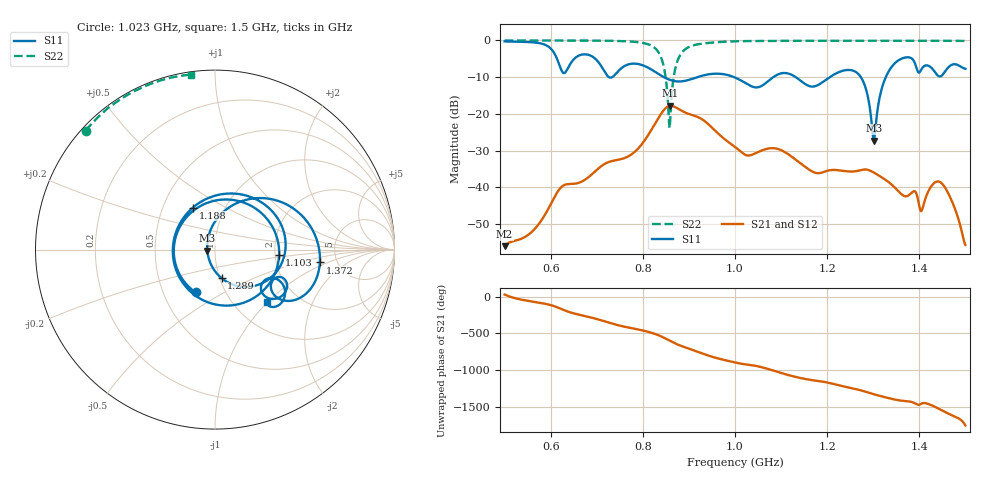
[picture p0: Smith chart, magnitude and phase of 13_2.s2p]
! TOUCHSTONE file generated by CST MICROWAVE STUDIO
! Date and time: Mon Nov 30 09:07:27 2020
! Project name: Scenario_1_Planar_Body_Tissue_Out_of_Line_v2.cst
! Parameters = {dy1=-138.4; L_HA=400; Ltissue=700; MT=2.54; Rad_Dielectric=30; Rad_Lower=7.3; Rad_Upper=30; Wtissue=700; a_HA=580; a_WG=246; b_HA=500; b_WG=121; c_HA=0; c_WG=187; d_feed=85; dx1=346; h_feed=15; h_lower=18; h_upper=40; hfat=3; hgap=25; hmuscle=50; hskin=1.5}
! Header version: 2018
! Port assignment regex: !\s*Touchstone port\s*([0-9]+)\s*=\s*(CST MWS port|CST DS port)\s*([0-9]+|Zmin|Zmax)\s*\(\"(.*)\"\)(\s*mode\s*([0-9]+))?.*
! Touchstone port assignment:
! Touchstone port 1 = CST MWS port 1 ("")
! Touchstone port 2 = CST MWS port 2 ("")
# GHz S DB R 50
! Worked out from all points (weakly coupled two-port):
!   1003 points, 500 MHz to 1.5 GHz, reference 50 ohm
!   highest |S21| = -17.80 dB at 860 MHz (marker M1); lowest = -56.1 dB at 500 MHz (marker M2)
!   lowest |S11| = -27.3 dB at 1.301 GHz (marker M3), VSWR 1.09, Z = 45.9 - j0.561 ohm
!   |S11| at or under -10 dB: 845.5 MHz to 918.5 MHz (73.05 MHz wide, 8.28 % of centre); 998 MHz to 1.083 GHz (85.04 MHz wide, 8.17 % of centre); 1.132 GHz to 1.206 GHz (73.81 MHz wide, 6.31 % of centre) (the widest 3 of 5)
!   |S22| runs from -23.9 to 0.0 dB; largest |S21 - S12| = 0.00041
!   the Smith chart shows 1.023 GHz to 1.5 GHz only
!   S11 on the Smith chart (normalised r, x): 1.023 GHz: 0.73, -0.37; 1.103 GHz: 2.10, -0.15; 1.188 GHz: 0.71, +0.36; 1.289 GHz: 1.02, -0.33; 1.372 GHz: 3.67, -0.81; 1.5 GHz: 1.41, -0.99
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0.5  -0.27 -121.8  -56.06 29.5  -56.06 29.5  -0.01 151.1
0.667  -3.88 157.7  -38.49 107.2  -38.43 107.2  -0.04 138.4
0.717  -8.52 26.3  -33.66 24.4  -33.66 24.4  -0.09 132.7
0.741  -9.15 -96.1  -32.65 -20.1  -32.65 -20.1  -0.14 129.1
0.77  -6.48 175.5  -31.48 -61.3  -31.48 -61.3  -0.27 123.1
0.834  -9.15 34.6  -21.11 -164.9  -21.09 -164.9  -3.22 84.0
0.86  -10.80 -32.9  -17.80 115.0  -17.80 115.0  -20.11 -101.9
0.888  -11.09 -121.0  -19.43 39.2  -19.43 39.2  -2.84 178.1
0.939  -9.32 85.5  -22.48 -74.5  -22.46 -74.4  -0.73 151.6
1  -10.11 -57.1  -29.02 -175.4  -29.03 -175.0  -0.25 140.4
1.023  -11.64 -114.3  -31.20 159.2  -31.15 159.2  -0.19 137.4
1.071  -11.19 87.2  -29.48 97.7  -29.45 97.6  -0.14 132.3
1.103  -8.91 -5.1  -30.07 36.2  -30.07 36.3  -0.12 129.4
1.167  -12.58 176.8  -35.67 -55.4  -35.67 -55.4  -0.10 124.2
1.188  -11.55 117.8  -36.03 -73.2  -36.02 -73.2  -0.10 122.6
1.248  -8.05 8.8  -35.71 -158.0  -35.67 -158.1  -0.08 118.0
1.289  -15.75 -77.0  -35.29 135.1  -35.29 135.1  -0.09 114.9
1.301  -27.31 -171.9  -35.99 112.4  -35.99 112.5  -0.09 114.0
1.334  -8.33 48.5  -38.67 58.2  -38.67 58.2  -0.08 111.5
1.372  -4.60 -7.0  -42.46 18.7  -42.45 18.7  -0.09 108.6
1.447  -9.74 -31.4  -38.76 -101.9  -38.76 -101.9  -0.11 102.5
1.5  -7.73 -45.0  -55.70 47.1  -55.70 47.1  -0.13 98.0
